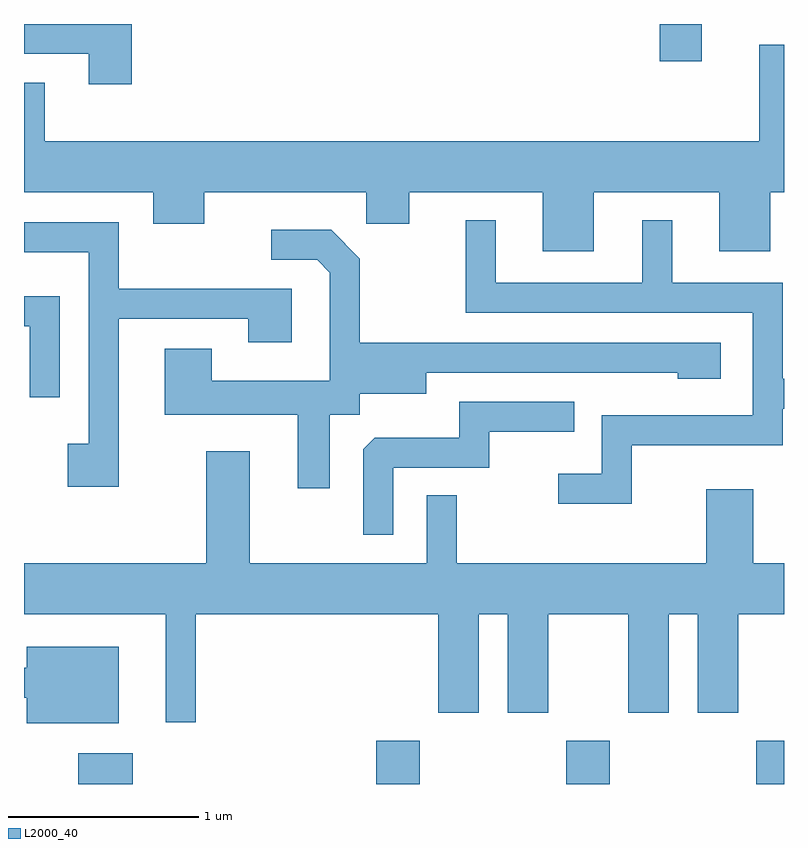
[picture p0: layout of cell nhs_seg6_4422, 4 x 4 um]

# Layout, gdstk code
import gdstk
lib = gdstk.Library(unit=1e-6, precision=1e-09)
def R(c, l, rs):  # rectangles x0, y0, x1, y1
    for r in rs: c.add(gdstk.rectangle(r[:2], r[2:], *l))
def P(c, l, *ps):  # polygons
    for p in ps: c.add(gdstk.Polygon(p, *l))
L2000_40 = (2000, 40)

nhs_seg6_4422 = lib.new_cell('nhs_seg6_4422')
R(nhs_seg6_4422, L2000_40, [(319.896,1640.162,320.184,1640.324), (321.466,1640.162,321.694,1640.389), (322.466,1640.162,322.694,1640.389), (323.466,1640.162,323.611,1640.389), (322.956,1643.966,323.179,1644.162)])
P(nhs_seg6_4422, L2000_40, [(320.179,1644.162),(319.611,1644.162),(319.611,1644.006),(319.951,1644.006),(319.951,1643.846),(320.179,1643.846)],
  [(322.609,1643.276),(323.271,1643.276),(323.271,1642.966),(323.539,1642.966),(323.539,1643.276),(323.611,1643.276),(323.611,1644.054),(323.481,1644.054),(323.481,1643.544),(319.719,1643.544),(319.719,1643.854),(319.611,1643.854),(319.611,1643.276),(320.291,1643.276),(320.291,1643.111),(320.559,1643.111),(320.559,1643.276),(321.411,1643.276),(321.411,1643.111),(321.639,1643.111),(321.639,1643.276),(322.341,1643.276),(322.341,1642.966),(322.609,1642.966)],
  [(322.809,1641.946),(323.604,1641.946),(323.604,1642.136),(323.611,1642.136),(323.611,1642.294),(323.604,1642.294),(323.604,1642.799),(323.024,1642.799),(323.024,1643.128),(322.866,1643.128),(322.866,1642.799),(322.094,1642.799),(322.094,1643.128),(321.936,1643.128),(321.936,1642.641),(323.446,1642.641),(323.446,1642.104),(322.651,1642.104),(322.651,1641.794),(322.423,1641.794),(322.423,1641.636),(322.809,1641.636)],
  [(320.109,1642.611),(320.791,1642.611),(320.791,1642.486),(321.019,1642.486),(321.019,1642.769),(320.109,1642.769),(320.109,1643.119),(319.611,1643.119),(319.611,1642.961),(319.951,1642.961),(319.951,1641.954),(319.841,1641.954),(319.841,1641.726),(320.109,1641.726)],
  [(321.219,1642.106),(321.379,1642.106),(321.379,1642.216),(321.729,1642.216),(321.729,1642.326),(323.051,1642.326),(323.051,1642.296),(323.279,1642.296),(323.279,1642.484),(321.379,1642.484),(321.379,1642.927),(321.227,1643.079),(320.913,1643.079),(320.913,1642.921),(321.154,1642.921),(321.221,1642.854),(321.221,1642.284),(320.599,1642.284),(320.599,1642.454),(320.351,1642.454),(320.351,1642.106),(321.051,1642.106),(321.051,1641.718),(321.219,1641.718)],
  [(319.799,1642.729),(319.611,1642.729),(319.611,1642.571),(319.641,1642.571),(319.641,1642.198),(319.799,1642.198)],
  [(321.554,1641.826),(322.059,1641.826),(322.059,1642.016),(322.508,1642.016),(322.508,1642.174),(321.901,1642.174),(321.901,1641.984),(321.457,1641.984),(321.396,1641.924),(321.396,1641.473),(321.554,1641.473)],
  [(320.514,1641.056),(321.791,1641.056),(321.791,1640.536),(322.004,1640.536),(322.004,1641.056),(322.156,1641.056),(322.156,1640.536),(322.369,1640.536),(322.369,1641.056),(322.791,1641.056),(322.791,1640.536),(323.004,1640.536),(323.004,1641.056),(323.156,1641.056),(323.156,1640.536),(323.369,1640.536),(323.369,1641.056),(323.611,1641.056),(323.611,1641.324),(323.449,1641.324),(323.449,1641.714),(323.201,1641.714),(323.201,1641.324),(321.889,1641.324),(321.889,1641.683),(321.731,1641.683),(321.731,1641.324),(320.799,1641.324),(320.799,1641.914),(320.571,1641.914),(320.571,1641.324),(319.611,1641.324),(319.611,1641.056),(320.356,1641.056),(320.356,1640.488),(320.514,1640.488)],
  [(320.109,1640.884),(319.626,1640.884),(319.626,1640.774),(319.611,1640.774),(319.611,1640.616),(319.626,1640.616),(319.626,1640.481),(320.109,1640.481)])

lib.write_gds('nhs_seg6_4422.gds')
